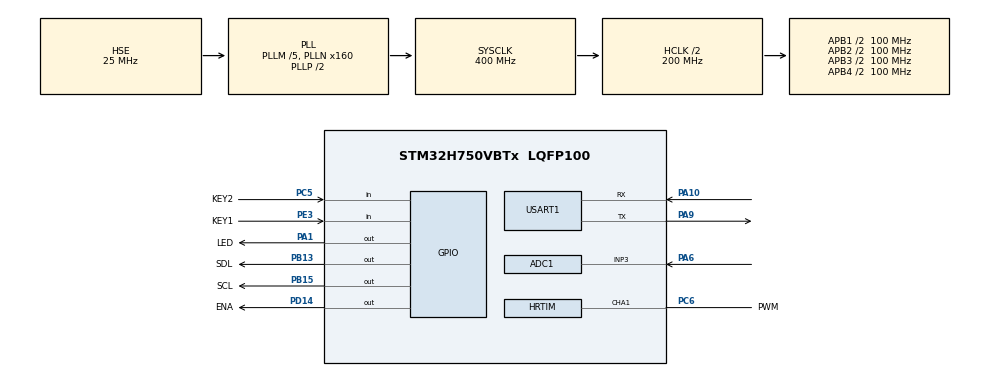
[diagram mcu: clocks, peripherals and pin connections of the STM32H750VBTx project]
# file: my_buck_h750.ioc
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ADC1.Channel-0\#ChannelRegularConversion=ADC_CHANNEL_3
ADC1.ContinuousConvMode=DISABLE
ADC1.NbrOfConversionFlag=1
ADC1.OffsetNumber-0\#ChannelRegularConversion=ADC_OFFSET_NONE
ADC1.OffsetSignedSaturation-0\#ChannelRegularConversion=DISABLE
ADC1.Rank-0\#ChannelRegularConversion=1
ADC1.SamplingTime-0\#ChannelRegularConversion=ADC_SAMPLETIME_64CYCLES_5
ADC1.master=1
CORTEX_M7.CPU_DCache=Enabled
CORTEX_M7.CPU_ICache=Enabled
HRTIM.CompareUnit1-Output_TA1=HRTIM_COMPAREUNIT_1
HRTIM.CompareValue1-Output_TA1=2000
HRTIM.Configuration_TA=Waveform
HRTIM.NumberResetSource1-Output_TA1=1
HRTIM.NumberSetSource1-Output_TA1=1
HRTIM.PWMChannel_TA1=__NULL
HRTIM.PWMPulse_TA1=2000
HRTIM.Periode_TA=4000
HRTIM.PreloadEnable-Output_TA1=HRTIM_PRELOAD_ENABLED
HRTIM.RepetitionUpdate-Output_TA1=HRTIM_UPDATEONREPETITION_ENABLED
HRTIM.ResetOutput1_Source1-Output_TA1=HRTIM_OUTPUTRESET_TIMCMP1
HRTIM.SetOutput1_Source1-Output_TA1=HRTIM_OUTPUTSET_TIMPER
Mcu.Family=STM32H7
Mcu.Name=STM32H750VBTx
Mcu.Package=LQFP100
NVIC.PriorityGroup=NVIC_PRIORITYGROUP_2
NVIC.TIM6_DAC_IRQn=true\:0\:1\:false\:false\:true\:true\:true
NVIC.USART1_IRQn=true\:0\:0\:false\:false\:true\:true\:true
PA1.GPIO_Label=LED
PA1.GPIO_Speed=GPIO_SPEED_FREQ_HIGH
PA1.Signal=GPIO_Output
PA10.GPIO_Speed=GPIO_SPEED_FREQ_VERY_HIGH
PA10.Mode=Asynchronous
PA10.Signal=USART1_RX
PA13\ (JTMS/SWDIO).Mode=Serial_Wire
PA13\ (JTMS/SWDIO).Signal=DEBUG_JTMS-SWDIO
PA14\ (JTCK/SWCLK).Mode=Serial_Wire
PA14\ (JTCK/SWCLK).Signal=DEBUG_JTCK-SWCLK
PA6.Signal=ADCx_INP3
PA9.GPIO_Speed=GPIO_SPEED_FREQ_VERY_HIGH
PA9.Mode=Asynchronous
PA9.Signal=USART1_TX
PB13.GPIO_Label=SDL
PB13.GPIO_Speed=GPIO_SPEED_FREQ_VERY_HIGH
PB13.Signal=GPIO_Output
PB15.GPIO_Label=SCL
PB15.GPIO_Speed=GPIO_SPEED_FREQ_VERY_HIGH
PB15.Signal=GPIO_Output
PC14-OSC32_IN\ (OSC32_IN).Mode=LSE-External-Oscillator
PC14-OSC32_IN\ (OSC32_IN).Signal=RCC_OSC32_IN
PC15-OSC32_OUT\ (OSC32_OUT).Mode=LSE-External-Oscillator
PC15-OSC32_OUT\ (OSC32_OUT).Signal=RCC_OSC32_OUT
PC5.GPIO_Label=KEY2
PC5.Signal=GPIO_Input
PC6.GPIO_Label=PWM
PC6.Mode=Output_TA1
PC6.Signal=HRTIM_CHA1
PD14.GPIO_Label=ENA
PD14.GPIO_Speed=GPIO_SPEED_FREQ_MEDIUM
PD14.PinState=GPIO_PIN_SET
PD14.Signal=GPIO_Output
PE3.GPIO_Label=KEY1
PE3.Signal=GPIO_Input
PH0-OSC_IN\ (PH0).Mode=HSE-External-Oscillator
PH0-OSC_IN\ (PH0).Signal=RCC_OSC_IN
PH1-OSC_OUT\ (PH1).Mode=HSE-External-Oscillator
PH1-OSC_OUT\ (PH1).Signal=RCC_OSC_OUT
ProjectManager.HeapSize=0x200
ProjectManager.StackSize=0x400
ProjectManager.TargetToolchain=MDK-ARM V5.27
RCC.ADCCLockSelection=RCC_ADCCLKSOURCE_PLL3
RCC.ADCFreq_Value=75000000
RCC.APB1Freq_Value=100000000
RCC.APB2Freq_Value=100000000
RCC.APB3Freq_Value=100000000
RCC.APB4Freq_Value=100000000
RCC.CortexFreq_Value=400000000
RCC.D1PPRE=RCC_APB3_DIV2
RCC.D2PPRE1=RCC_APB1_DIV2
RCC.D2PPRE2=RCC_APB2_DIV2
RCC.D3PPRE=RCC_APB4_DIV2
RCC.DIVM1=5
RCC.DIVM2=5
RCC.DIVM3=5
RCC.DIVN1=160
RCC.DIVN2=60
RCC.DIVN3=30
RCC.HCLKFreq_Value=200000000
RCC.HPRE=RCC_HCLK_DIV2
RCC.HRTIMCLockSelection=RCC_HRTIM1CLK_CPUCLK
RCC.PLLSourceVirtual=RCC_PLLSOURCE_HSE
RCC.SYSCLKFreq_VALUE=400000000
RCC.SYSCLKSource=RCC_SYSCLKSOURCE_PLLCLK
RCC.USBFreq_Value=400000000
SH.ADCx_INP3.0=ADC1_INP3,IN3-Single-Ended
TIM6.AutoReloadPreload=TIM_AUTORELOAD_PRELOAD_ENABLE
TIM6.Period=999
TIM6.Prescaler=72
USART1.VirtualMode-Asynchronous=VM_ASYNC
VP_TIM6_VS_ClockSourceINT.Mode=Enable_Timer
board=custom

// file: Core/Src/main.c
/* USER CODE BEGIN Header */
/**
  ******************************************************************************
  * @file           : main.c
  * @brief          : Main program body
  ******************************************************************************
  * @attention
  *
  * <h2><center>&copy; Copyright (c) 2021 STMicroelectronics.
  * All rights reserved.</center></h2>
  *
  * This software component is licensed by ST under BSD 3-Clause license,
  * the "License"; You may not use this file except in compliance with the
  * License. You may obtain a copy of the License at:
  *                        opensource.org/licenses/BSD-3-Clause
  *
  ******************************************************************************
  */
/* USER CODE END Header */
#include "main.h"
#include "adc.h"
#include "hrtim.h"
#include "hrtim.h"
#include "tim.h"
#include "usart.h"
#include "gpio.h"

/* USER CODE BEGIN Includes */
#include "oled.h"
#include "protocol.h"
#include "aw_pid.h"
#include "sp_pid.h"
#include "eh_pid.h"
#include "buck_pid_contral.h"
#include <string.h>
#include "fuzzy_pid.h"

/* USER CODE END Includes */

/* USER CODE BEGIN PD */
//#define PID_ASSISTANT_EN 1

/* USER CODE END PD */

/* USER CODE BEGIN PM */

#define CH_COUNT 2
//#define PID_ASSISTANT_EN 1

static float data[CH_COUNT];

static unsigned char tail[12]={0,0,0,0,0,0,0,0,0x00, 0x00, 0x80, 0x7f};

static float data[CH_COUNT];

struct Frame {
    float fdata[CH_COUNT];
    unsigned char tail[4];
};

struct Frame real_data ={{0}, {0x00, 0x00, 0x80, 0x7f}};

#define FUZZYPID 1
#define DOF 1

/* USER CODE END PM */

/* USER CODE BEGIN PV */
uint16_t temp;
float man;
float val;
uint16_t duty_val =1000;

float VoltageRef1 = 3.3;
float VoltageRef2 = 7.5;
float Ts = 0.001;
int target_val;
int real_val;
uint16_t Ref_scaler = 10000;

float control_uk;

uint16_t Isr_count=0;

struct PID **pid_vector;

/* USER CODE END PV */

void SystemClock_Config(void);

int main(void)
{

  /* Enable I-Cache---------------------------------------------------------*/
  SCB_EnableICache();

  /* Enable D-Cache---------------------------------------------------------*/
  SCB_EnableDCache();

  /* MCU Configuration--------------------------------------------------------*/

  /* Reset of all peripherals, Initializes the Flash interface and the Systick. */
  HAL_Init();

  /* Configure the system clock */
  SystemClock_Config();

  /* USER CODE BEGIN SysInit */
	struct PID **subpid_vector = fuzzy_pid_vector_init(fuzzy_pid_params, 2.0f, 4, 1, 0, mf_params, rule_base, 1);

	pid_vector=subpid_vector;

  /* USER CODE END SysInit */

  /* Initialize all configured peripherals */
  MX_GPIO_Init();
  MX_ADC1_Init();
  MX_HRTIM_Init();
  MX_TIM6_Init();
  MX_USART1_UART_Init();
  /* USER CODE BEGIN 2 */
	/*协议初始化*/
  //protocol_init();

   ///*PID参数初始化*
#if defined(PID1)
   /*抗饱和PID初始化*/
	pid.Kp = 10.4597502;
    pid.Ki = 5.0053997;
    pid.Kd = 8.59500027;
    pid.kw = 0;
    pid.Kc = 0;
    pid.Ts = Ts;
    pid.N = 20;
	pid.OutMax = 3750;
    pid.OutMin =  250;

    pid.SatErr = 0.005;
    pid.Ref=VoltageRef1;

#elif defined(PID2)
	/*增量式PID初始化*/
    pid.Kp = 0.459750444;
    pid.Ki = 0.00539999164;
    pid.Kd = 0.595000153;

	pid.Kp = 5.4597502;
    pid.Ki = 5.0053997;
    pid.Kd = 8.59500027;

    pid.Ts = Ts;
//    pid.OutMax = 11;
//    pid.OutMin =  1;

	pid.OutMax = 3750;
    pid.OutMin =  250;
    pid.Ref = VoltageRef2;

    pid.init(&pid);

#elif defined(PID3)
	/*专家PID初始化*/
    pid.Kp = 0.0459750444;
    pid.Ki = 0.000539999164;
    pid.Kd = 0.00595000153;
    pid.Ts = Ts;

	pid.Kp = 10.4597502;
    pid.Ki = 5.0053997;
    pid.Kd = 8.59500027;

//    pid.OutMax = 11;
//    pid.OutMin =  1;
//    pid.Ref = VoltageRef2;

	pid.OutMax = 3750;
    pid.OutMin =  250;
    pid.Ref = VoltageRef2;

#endif

	#if defined(PID_ASSISTANT_EN)
	  float pid_temp[3] = {pid.Kp, pid.Ki, pid.Kd};
	  set_computer_value(SEND_P_I_D_CMD, CURVES_CH1, pid_temp, 3);     // 给通道 1 发送 P I D 值
	#endif

  /* USER CODE END 2 */

  /* Infinite loop */
    while (1)
    {

    /* USER CODE BEGIN 3 */
//		HAL_Delay(2000);
//		__HAL_HRTIM_SETCOMPARE(&hhrtim,HRTIM_TIMERINDEX_TIMER_A,HRTIM_COMPAREUNIT_1,duty_val);
//		temp=__HAL_HRTIM_GETCOMPARE(&hhrtim,HRTIM_TIMERINDEX_TIMER_A,HRTIM_OUTPUT_TA1);
////		printf("compare=%d\n",temp);
//		temp=get_ad();//正常采集
//		man=(float) temp;
//		man=KalmanFilter(man);//卡尔曼滤波
//		HAL_Delay(1000);
//		man = Kalman2();
//		//val = man/65535*3.3*5;
//
//		val = man*3.3f/13107;
//
//		data[1]=val;
//		real_data.fdata[1]=val;
////		printf("卡尔曼滤波电压=%f\n",val);
//		temp=filter2();
//
//		//val = temp/65335*3.3*5;
//		val = temp*3.3f/13107;
////		printf("中值滤波电压=%f\n",val);
//
//		data[0]=val;
//		real_data.fdata[0]=val;
//
//
//		memcpy(tail, (uint8_t *)&data, sizeof(data));
//
//		HAL_UART_Transmit(&huart1,(uint8_t *)&real_data, sizeof(real_data), 0xFFFFF);
//		//HAL_UART_Transmit(&huart1,(uint8_t *)&tail, sizeof(tail), 0xFFFFF);
//
//		duty_val+=500;
//		if(duty_val>3500)
//			duty_val=1000;
		//target=duty_val;
			  /* 设置目标位置 */

//		receiving_process();

    }
  /* USER CODE END 3 */
}

void SystemClock_Config(void)
{
  RCC_OscInitTypeDef RCC_OscInitStruct = {0};
  RCC_ClkInitTypeDef RCC_ClkInitStruct = {0};

  /** Supply configuration update enable
  */
  HAL_PWREx_ConfigSupply(PWR_LDO_SUPPLY);
  /** Configure the main internal regulator output voltage
  */
  __HAL_PWR_VOLTAGESCALING_CONFIG(PWR_REGULATOR_VOLTAGE_SCALE1);

  while(!__HAL_PWR_GET_FLAG(PWR_FLAG_VOSRDY)) {}
  /** Macro to configure the PLL clock source
  */
  __HAL_RCC_PLL_PLLSOURCE_CONFIG(RCC_PLLSOURCE_HSE);
  /** Initializes the RCC Oscillators according to the specified parameters
  * in the RCC_OscInitTypeDef structure.
  */
  RCC_OscInitStruct.OscillatorType = RCC_OSCILLATORTYPE_HSE;
  RCC_OscInitStruct.HSEState = RCC_HSE_ON;
  RCC_OscInitStruct.PLL.PLLState = RCC_PLL_ON;
  RCC_OscInitStruct.PLL.PLLSource = RCC_PLLSOURCE_HSE;
  RCC_OscInitStruct.PLL.PLLM = 5;
  RCC_OscInitStruct.PLL.PLLN = 160;
  RCC_OscInitStruct.PLL.PLLP = 2;
  RCC_OscInitStruct.PLL.PLLQ = 2;
  RCC_OscInitStruct.PLL.PLLR = 2;
  RCC_OscInitStruct.PLL.PLLRGE = RCC_PLL1VCIRANGE_2;
  RCC_OscInitStruct.PLL.PLLVCOSEL = RCC_PLL1VCOWIDE;
  RCC_OscInitStruct.PLL.PLLFRACN = 0;
  if (HAL_RCC_OscConfig(&RCC_OscInitStruct) != HAL_OK)
  {
    Error_Handler();
  }
  /** Initializes the CPU, AHB and APB buses clocks
  */
  RCC_ClkInitStruct.ClockType = RCC_CLOCKTYPE_HCLK|RCC_CLOCKTYPE_SYSCLK
                              |RCC_CLOCKTYPE_PCLK1|RCC_CLOCKTYPE_PCLK2
                              |RCC_CLOCKTYPE_D3PCLK1|RCC_CLOCKTYPE_D1PCLK1;
  RCC_ClkInitStruct.SYSCLKSource = RCC_SYSCLKSOURCE_PLLCLK;
  RCC_ClkInitStruct.SYSCLKDivider = RCC_SYSCLK_DIV1;
  RCC_ClkInitStruct.AHBCLKDivider = RCC_HCLK_DIV2;
  RCC_ClkInitStruct.APB3CLKDivider = RCC_APB3_DIV2;
  RCC_ClkInitStruct.APB1CLKDivider = RCC_APB1_DIV2;
  RCC_ClkInitStruct.APB2CLKDivider = RCC_APB2_DIV2;
  RCC_ClkInitStruct.APB4CLKDivider = RCC_APB4_DIV2;

  if (HAL_RCC_ClockConfig(&RCC_ClkInitStruct, FLASH_LATENCY_2) != HAL_OK)
  {
    Error_Handler();
  }
}

/* USER CODE BEGIN 4 */

//void HAL_UART_RxCpltCallback(UART_HandleTypeDef *huart)
//{
//	uint8_t data[1];
//    data[0] = (*huart).Instance->RDR;
//    protocol_data_recv(data, 1);
//}

void HAL_TIM_PeriodElapsedCallback(TIM_HandleTypeDef *htim)
{
	if(TIM6 == htim->Instance)
	{

		Isr_count++;

//		temp=get_ad();//正常采集
//		man=(float) temp;
//		man=KalmanFilter(man);//卡尔曼滤波
//		man=man*3.3f/13107;

		temp=filter2();//中值滤波
		man = temp*3.32f/13107;
//		man = (32768.0f-(float)temp)/65535.0f*3.30f*17.0f;

		real_val = (int)(man*1000);

		#ifdef FUZZYPID
			control_uk = fuzzy_pid_motor_pwd_output(man, pid.Ref, true, pid_vector[0]);
			if(control_uk<250)
				control_uk=250;
			else if (control_uk>3750)
				control_uk=3750;

		#else
			pid.Fdb = man;
			pid.calc(&pid);
			control_uk = pid.Out;
		#endif

//		duty_val = (int) (control_uk/12*4000);
		duty_val = (int)control_uk;

		__HAL_HRTIM_SETCOMPARE(&hhrtim,HRTIM_TIMERINDEX_TIMER_A,HRTIM_COMPAREUNIT_1,duty_val);

		#if defined(PID_ASSISTANT_EN)
			set_computer_value(SEND_FACT_CMD, CURVES_CH1, &real_val, 1);     // 给通道 1 发送实际值
			target_val =  (int)( pid.Ref*1000);
			set_computer_value(SEND_TARGET_CMD, CURVES_CH1, &target_val, 1);     // 给通道 1 发送目标值

		#else
			real_data.fdata[0]=pid.Ref;
			real_data.fdata[1]=man;
			HAL_UART_Transmit(&huart1,(uint8_t *)&real_data, sizeof(real_data), 0xFFFFF);

		#endif

		/*测试用*/

//
//		if(Isr_count>10000)
//		{
//			Isr_count=0;
//			HAL_GPIO_TogglePin(LED_GPIO_Port,LED_Pin);
//		}

		if(Isr_count>=Ref_scaler)
	   {
		   Isr_count=0;
			HAL_GPIO_TogglePin(LED_GPIO_Port,LED_Pin);

			if(pid.Ref==VoltageRef2)
			{

				pid.Ref=VoltageRef1;   // 电压给定 轮换
				#if defined(PID2)
					pid.init(&pid);
				#endif

			}
			else
			{
				pid.Ref=VoltageRef2;
				#if defined(PID2)
					pid.init(&pid);
				#endif
			}

	   }

	}

}

/* USER CODE END 4 */

void Error_Handler(void)
{
    __disable_irq();
    while (1)
    {
    }
}

/************************ (C) COPYRIGHT STMicroelectronics *****END OF FILE****/
